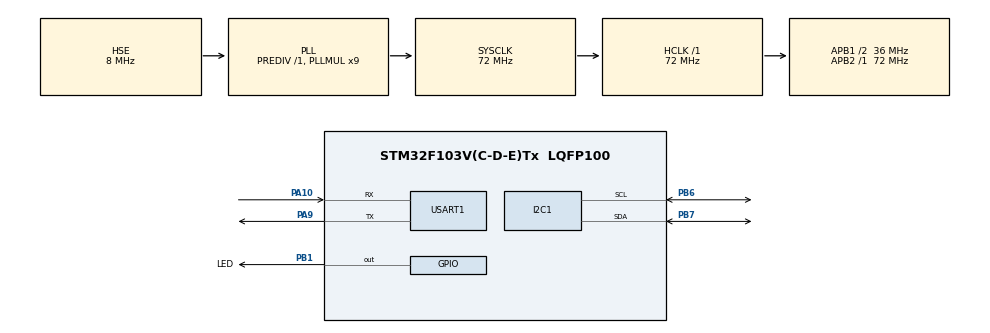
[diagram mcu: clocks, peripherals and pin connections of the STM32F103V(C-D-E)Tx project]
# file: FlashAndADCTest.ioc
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ADC1.Channel-0\#ChannelRegularConversion=ADC_CHANNEL_TEMPSENSOR
ADC1.ContinuousConvMode=ENABLE
ADC1.NbrOfConversionFlag=1
ADC1.Rank-0\#ChannelRegularConversion=1
ADC1.SamplingTime-0\#ChannelRegularConversion=ADC_SAMPLETIME_71CYCLES_5
ADC1.master=1
Dma.Request0=USART1_RX
Dma.Request1=USART1_TX
Dma.USART1_RX.0.Direction=DMA_PERIPH_TO_MEMORY
Dma.USART1_RX.0.Instance=DMA1_Channel5
Dma.USART1_RX.0.MemDataAlignment=DMA_MDATAALIGN_BYTE
Dma.USART1_RX.0.MemInc=DMA_MINC_ENABLE
Dma.USART1_RX.0.Mode=DMA_CIRCULAR
Dma.USART1_RX.0.PeriphDataAlignment=DMA_PDATAALIGN_BYTE
Dma.USART1_RX.0.PeriphInc=DMA_PINC_DISABLE
Dma.USART1_RX.0.Priority=DMA_PRIORITY_LOW
Dma.USART1_TX.1.Direction=DMA_MEMORY_TO_PERIPH
Dma.USART1_TX.1.Instance=DMA1_Channel4
Dma.USART1_TX.1.MemDataAlignment=DMA_MDATAALIGN_BYTE
Dma.USART1_TX.1.MemInc=DMA_MINC_ENABLE
Dma.USART1_TX.1.Mode=DMA_NORMAL
Dma.USART1_TX.1.PeriphDataAlignment=DMA_PDATAALIGN_BYTE
Dma.USART1_TX.1.PeriphInc=DMA_PINC_DISABLE
Dma.USART1_TX.1.Priority=DMA_PRIORITY_LOW
Mcu.Family=STM32F1
Mcu.Name=STM32F103V(C-D-E)Tx
Mcu.Package=LQFP100
NVIC.DMA1_Channel4_IRQn=true\:1\:0\:true\:false\:true\:false\:true
NVIC.DMA1_Channel5_IRQn=true\:1\:0\:true\:false\:true\:false\:true
NVIC.PriorityGroup=NVIC_PRIORITYGROUP_4
NVIC.TIM3_IRQn=true\:2\:0\:true\:false\:true\:true\:true
NVIC.USART1_IRQn=true\:1\:0\:true\:false\:true\:true\:true
OSC_IN.Mode=HSE-External-Oscillator
OSC_IN.Signal=RCC_OSC_IN
OSC_OUT.Mode=HSE-External-Oscillator
OSC_OUT.Signal=RCC_OSC_OUT
PA10.GPIO_PuPd=GPIO_PULLDOWN
PA10.Mode=Asynchronous
PA10.Signal=USART1_RX
PA13.Mode=Serial_Wire
PA13.Signal=SYS_JTMS-SWDIO
PA14.Mode=Serial_Wire
PA14.Signal=SYS_JTCK-SWCLK
PA9.Mode=Asynchronous
PA9.Signal=USART1_TX
PB1.GPIO_Label=LED
PB1.Signal=GPIO_Output
PB6.Mode=I2C
PB6.Signal=I2C1_SCL
PB7.Mode=I2C
PB7.Signal=I2C1_SDA
ProjectManager.HeapSize=0x200
ProjectManager.StackSize=0x400
ProjectManager.TargetToolchain=MDK-ARM V5
RCC.ADCPresc=RCC_ADCPCLK2_DIV6
RCC.AHBFreq_Value=72000000
RCC.APB1CLKDivider=RCC_HCLK_DIV2
RCC.APB1Freq_Value=36000000
RCC.APB1TimFreq_Value=72000000
RCC.APB2Freq_Value=72000000
RCC.APB2TimFreq_Value=72000000
RCC.HCLKFreq_Value=72000000
RCC.PLLMUL=RCC_PLL_MUL9
RCC.PLLSourceVirtual=RCC_PLLSOURCE_HSE
RCC.SYSCLKFreq_VALUE=72000000
RCC.SYSCLKSource=RCC_SYSCLKSOURCE_PLLCLK
RCC.USBFreq_Value=72000000
TIM3.AutoReloadPreload=TIM_AUTORELOAD_PRELOAD_ENABLE
TIM3.Period=9999
TIM3.Prescaler=7199
USART1.VirtualMode=VM_ASYNC
VP_ADC1_TempSens_Input.Mode=IN-TempSens
VP_TIM3_VS_ClockSourceINT.Mode=Internal
board=custom

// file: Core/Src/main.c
/* USER CODE BEGIN Header */
/**
  ******************************************************************************
  * @file           : main.c
  * @brief          : Main program body
  ******************************************************************************
  * @attention
  *
  * Copyright (c) 2022 STMicroelectronics.
  * All rights reserved.
  *
  * This software is licensed under terms that can be found in the LICENSE file
  * in the root directory of this software component.
  * If no LICENSE file comes with this software, it is provided AS-IS.
  *
  ******************************************************************************
  */
/* USER CODE END Header */
#include "main.h"
#include "adc.h"
#include "dma.h"
#include "i2c.h"
#include "tim.h"
#include "usart.h"
#include "gpio.h"

/* USER CODE BEGIN Includes */
#include <stdio.h>
#include <stdlib.h>
#include <string.h>
#include <math.h>
#include "FLASH.h"
/* USER CODE END Includes */

/* USER CODE BEGIN PV */

uint8_t USART1_TestUSART[] = {0x01,0x01};
uint8_t USART1_FlashUSART[] = {0x01,0x02};
uint8_t USART1_NormalUSART[] = {0X01,0X03};

uint16_t i=0;

uint8_t testbuffer[] = {"STM32FLASHTEST!"};

float wave[1024] = {0};
uint8_t wavedata[2048] = {0};

/* USER CODE END PV */

void SystemClock_Config(void);

int main(void)
{

  /* MCU Configuration--------------------------------------------------------*/

  /* Reset of all peripherals, Initializes the Flash interface and the Systick. */
  HAL_Init();

  /* Configure the system clock */
  SystemClock_Config();

  /* Initialize all configured peripherals */
  MX_GPIO_Init();
  MX_DMA_Init();
  MX_ADC1_Init();
  MX_TIM3_Init();
  MX_USART1_UART_Init();
  MX_I2C1_Init();
  /* USER CODE BEGIN 2 */
  for (i=0;i<1024;i++)
  {
    wave[i] = 1.332;
    printf("%f\r\n",wave[i]);
  }
  HAL_UART_Receive_DMA(&huart1,USART_RX1_BUFFER,RX1BUFFERSIZE);
  // HAL_TIM_Base_Start_IT(&htim3);
  /* USER CODE END 2 */

  /* Infinite loop */
  /* USER CODE BEGIN WHILE */
  while (1)
  {
    HAL_GPIO_TogglePin(GPIOB,LED_Pin);
    HAL_Delay(1000);

    // --------------------
    if (memcmp(DATA_CACHE1,USART1_TestUSART,sizeof(USART1_TestUSART)) == RESET )
    {
      memset(DATA_CACHE1,0,RX1BUFFERSIZE);
      HAL_Delay(100);
      STM32FLASH_Read(STM32_FLASH_WASAVEADDR1,(uint16_t*)DATA_CACHE1,2048);
      HAL_UART_Transmit(&huart1,DATA_CACHE1,2048,0xFFFF);
      memset(DATA_CACHE1,0,RX1BUFFERSIZE);
    }

    // --------------------
    else if (memcmp(DATA_CACHE1,USART1_FlashUSART,sizeof(USART1_FlashUSART)) == RESET )
    {
      printf("Write the first 1024 decimals!!!\r\n");
      HAL_Delay(100);
      STM32FLASH_Write(STM32_FLASH_WASAVEADDR1,(uint16_t*)&DATA_CACHE1[4],2048);
      memset(DATA_CACHE1,0,RX1BUFFERSIZE);
      STM32FLASH_Read(STM32_FLASH_WASAVEADDR1,(uint16_t*)DATA_CACHE1,2048);
      HAL_UART_Transmit(&huart1,DATA_CACHE1,2048,0xFFFF);
      memset(DATA_CACHE1,0,RX1BUFFERSIZE);
    }

    // --------------------
    else if (memcmp(DATA_CACHE1,USART1_NormalUSART,sizeof(USART1_NormalUSART)) ==RESET )
    {
      printf("Write the last 1024 decimals!!!\r\n");
      HAL_Delay(100);
      STM32FLASH_Write(STM32_FLASH_WASAVEADDR2,(uint16_t*)&DATA_CACHE1[4],2048);
      memset(DATA_CACHE1,0,RX1BUFFERSIZE);
      STM32FLASH_Read(STM32_FLASH_WASAVEADDR2,(uint16_t*)DATA_CACHE1,2048);
      HAL_UART_Transmit(&huart1,DATA_CACHE1,2048,0xFFFF);
      memset(DATA_CACHE1,0,RX1BUFFERSIZE);
    }

    /* USER CODE END WHILE */

  }
}

void SystemClock_Config(void)
{
  RCC_OscInitTypeDef RCC_OscInitStruct = {0};
  RCC_ClkInitTypeDef RCC_ClkInitStruct = {0};
  RCC_PeriphCLKInitTypeDef PeriphClkInit = {0};

  /** Initializes the RCC Oscillators according to the specified parameters
  * in the RCC_OscInitTypeDef structure.
  */
  RCC_OscInitStruct.OscillatorType = RCC_OSCILLATORTYPE_HSE;
  RCC_OscInitStruct.HSEState = RCC_HSE_ON;
  RCC_OscInitStruct.HSEPredivValue = RCC_HSE_PREDIV_DIV1;
  RCC_OscInitStruct.HSIState = RCC_HSI_ON;
  RCC_OscInitStruct.PLL.PLLState = RCC_PLL_ON;
  RCC_OscInitStruct.PLL.PLLSource = RCC_PLLSOURCE_HSE;
  RCC_OscInitStruct.PLL.PLLMUL = RCC_PLL_MUL9;
  if (HAL_RCC_OscConfig(&RCC_OscInitStruct) != HAL_OK)
  {
    Error_Handler();
  }
  /** Initializes the CPU, AHB and APB buses clocks
  */
  RCC_ClkInitStruct.ClockType = RCC_CLOCKTYPE_HCLK|RCC_CLOCKTYPE_SYSCLK
                              |RCC_CLOCKTYPE_PCLK1|RCC_CLOCKTYPE_PCLK2;
  RCC_ClkInitStruct.SYSCLKSource = RCC_SYSCLKSOURCE_PLLCLK;
  RCC_ClkInitStruct.AHBCLKDivider = RCC_SYSCLK_DIV1;
  RCC_ClkInitStruct.APB1CLKDivider = RCC_HCLK_DIV2;
  RCC_ClkInitStruct.APB2CLKDivider = RCC_HCLK_DIV1;

  if (HAL_RCC_ClockConfig(&RCC_ClkInitStruct, FLASH_LATENCY_2) != HAL_OK)
  {
    Error_Handler();
  }
  PeriphClkInit.PeriphClockSelection = RCC_PERIPHCLK_ADC;
  PeriphClkInit.AdcClockSelection = RCC_ADCPCLK2_DIV6;
  if (HAL_RCCEx_PeriphCLKConfig(&PeriphClkInit) != HAL_OK)
  {
    Error_Handler();
  }
}

/* USER CODE BEGIN 4 */

/**
 * @brief TimerCallbackHandFunction
 *
 * @param htim
 */
void HAL_TIM_PeriodElapsedCallback(TIM_HandleTypeDef *htim)
{
  if(htim == &htim3 )  //Judge if the timer3
  {
    HAL_GPIO_TogglePin(GPIOB,LED_Pin);
    // printf("OKOK\r\n");

    // if (memcmp(DATA_CACHE1,USART1_Tsimen_GlobalReset,6) == RESET )
    // {
    //   CRC16 = ModBus_CRC16(DATA_CACHE1,6);
    //   if (DATA_CACHE1[7]==(uint8_t)CRC16&0xFF && DATA_CACHE1[6]==(uint8_t)(CRC16>>8)&0xFF)
    //   {
    //     printf("Will restart the MCU in 1s ...");
    //     HAL_Delay(1000);
    //     __set_PRIMASK(1);
    //     HAL_NVIC_SystemReset();
    //   }
    // }
  }
}

/* USER CODE END 4 */

void Error_Handler(void)
{
  __disable_irq();
  while (1)
  {
  }
}
